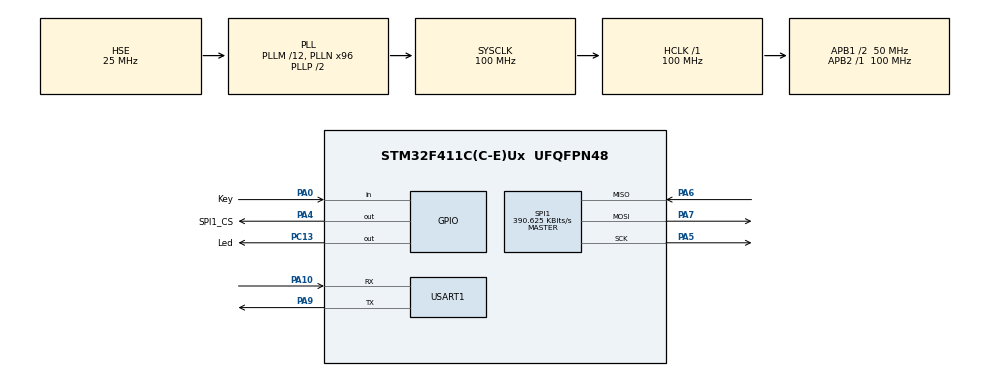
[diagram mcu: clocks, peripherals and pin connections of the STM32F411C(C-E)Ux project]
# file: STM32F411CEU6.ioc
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Dma.Request0=USART1_RX
Dma.USART1_RX.0.Direction=DMA_PERIPH_TO_MEMORY
Dma.USART1_RX.0.FIFOMode=DMA_FIFOMODE_DISABLE
Dma.USART1_RX.0.Instance=DMA2_Stream2
Dma.USART1_RX.0.MemDataAlignment=DMA_MDATAALIGN_BYTE
Dma.USART1_RX.0.MemInc=DMA_MINC_ENABLE
Dma.USART1_RX.0.Mode=DMA_NORMAL
Dma.USART1_RX.0.PeriphDataAlignment=DMA_PDATAALIGN_BYTE
Dma.USART1_RX.0.PeriphInc=DMA_PINC_DISABLE
Dma.USART1_RX.0.Priority=DMA_PRIORITY_LOW
FREERTOS.Tasks01=defaultTask,24,128,StartDefaultTask,Default,NULL,Dynamic,NULL,NULL
Mcu.Family=STM32F4
Mcu.Name=STM32F411C(C-E)Ux
Mcu.Package=UFQFPN48
NVIC.DMA2_Stream2_IRQn=true\:5\:0\:false\:false\:true\:true\:false\:true\:true
NVIC.PriorityGroup=NVIC_PRIORITYGROUP_4
NVIC.TIM1_UP_TIM10_IRQn=true\:15\:0\:false\:false\:true\:false\:false\:true\:true
NVIC.TimeBase=TIM1_UP_TIM10_IRQn
NVIC.TimeBaseIP=TIM1
NVIC.USART1_IRQn=true\:5\:0\:false\:false\:true\:true\:true\:true\:true
PA0-WKUP.GPIO_Label=Key
PA0-WKUP.GPIO_PuPd=GPIO_PULLUP
PA0-WKUP.Signal=GPIO_Input
PA10.Mode=Asynchronous
PA10.Signal=USART1_RX
PA13.Mode=Serial_Wire
PA13.Signal=SYS_JTMS-SWDIO
PA14.Mode=Serial_Wire
PA14.Signal=SYS_JTCK-SWCLK
PA4.GPIO_Label=SPI1_CS
PA4.PinState=GPIO_PIN_SET
PA4.Signal=GPIO_Output
PA5.Mode=Full_Duplex_Master
PA5.Signal=SPI1_SCK
PA6.Mode=Full_Duplex_Master
PA6.Signal=SPI1_MISO
PA7.Mode=Full_Duplex_Master
PA7.Signal=SPI1_MOSI
PA9.Mode=Asynchronous
PA9.Signal=USART1_TX
PC13-ANTI_TAMP.GPIO_Label=Led
PC13-ANTI_TAMP.Signal=GPIO_Output
PC14-OSC32_IN.Mode=LSE-External-Oscillator
PC14-OSC32_IN.Signal=RCC_OSC32_IN
PC15-OSC32_OUT.Mode=LSE-External-Oscillator
PC15-OSC32_OUT.Signal=RCC_OSC32_OUT
PH0\ -\ OSC_IN.Mode=HSE-External-Oscillator
PH0\ -\ OSC_IN.Signal=RCC_OSC_IN
PH1\ -\ OSC_OUT.Mode=HSE-External-Oscillator
PH1\ -\ OSC_OUT.Signal=RCC_OSC_OUT
ProjectManager.HeapSize=0x200
ProjectManager.StackSize=0x400
ProjectManager.TargetToolchain=MDK-ARM V5.32
RCC.48MHZClocksFreq_Value=50000000
RCC.AHBFreq_Value=100000000
RCC.APB1CLKDivider=RCC_HCLK_DIV2
RCC.APB1Freq_Value=50000000
RCC.APB1TimFreq_Value=100000000
RCC.APB2Freq_Value=100000000
RCC.APB2TimFreq_Value=100000000
RCC.CortexFreq_Value=100000000
RCC.HCLKFreq_Value=100000000
RCC.HSE_VALUE=25000000
RCC.HSI_VALUE=16000000
RCC.PLLM=12
RCC.PLLN=96
RCC.PLLSourceVirtual=RCC_PLLSOURCE_HSE
RCC.SYSCLKFreq_VALUE=100000000
RCC.SYSCLKSource=RCC_SYSCLKSOURCE_PLLCLK
RCC.VCOOutputFreq_Value=200000000
SPI1.BaudRatePrescaler=SPI_BAUDRATEPRESCALER_256
SPI1.CalculateBaudRate=390.625 KBits/s
SPI1.Direction=SPI_DIRECTION_2LINES
SPI1.Mode=SPI_MODE_MASTER
SPI1.VirtualType=VM_MASTER
USART1.VirtualMode=VM_ASYNC
VP_FREERTOS_VS_CMSIS_V2.Mode=CMSIS_V2
VP_SYS_VS_tim1.Mode=TIM1
board=custom

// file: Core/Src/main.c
/* USER CODE BEGIN Header */
/**
  ******************************************************************************
  * @file           : main.c
  * @brief          : Main program body
  ******************************************************************************
  * @attention
  *
  * Copyright (c) 2026 STMicroelectronics.
  * All rights reserved.
  *
  * This software is licensed under terms that can be found in the LICENSE file
  * in the root directory of this software component.
  * If no LICENSE file comes with this software, it is provided AS-IS.
  *
  ******************************************************************************
  */
/* USER CODE END Header */

#include "main.h"
#include "cmsis_os.h"
#include "dma.h"
#include "spi.h"
#include "usart.h"
#include "gpio.h"

/* USER CODE BEGIN Includes */
#include <stdint.h>  /* C 标准库 */
#include <stdio.h>

#include "at24cxx.h"  /* BSP 层：EEPROM、按键、LED 与 Flash */
#include "key.h"
#include "led.h"
#include "w25qxx_handler.h"

#include "SEGGER_RTT.h"  /* 中间件层：RTT 与日志封装 */
#include "debug.h"

#include "fw_update.h"  /* 业务层：固件更新接口与 APP 状态标志 */
/* USER CODE END Includes */

/* USER CODE BEGIN PD */
#define TAG  "main"  /* 日志标识 */
/* USER CODE END PD */

void SystemClock_Config(void);
void MX_FREERTOS_Init(void);

int main(void)
{

  /* USER CODE BEGIN 1 */
    __enable_irq();
    uint8_t app_state = 0xFFU;  /* EEPROM 保存的 APP 状态字节 */
  /* USER CODE END 1 */

  /* MCU Configuration--------------------------------------------------------*/

  /* Reset of all peripherals, Initializes the Flash interface and the Systick. */
  HAL_Init();

  /* Configure the system clock */
  SystemClock_Config();

  /* USER CODE BEGIN SysInit */
  debug_init();
  /* USER CODE END SysInit */

  /* Initialize all configured peripherals */
  MX_GPIO_Init();
  MX_DMA_Init();
  MX_USART1_UART_Init();
  MX_SPI1_Init();
  /* USER CODE BEGIN 2 */
  Key_Init();
  LED_Init();
  AT24Cxx_Init();
  W25QxxHandler_Init();

  AT24Cxx_ReadBytes(&app_state, 0x00U, 1U);
  elog_i(TAG, "APP state=0x%02X,log location:APP2\r\n",
          (unsigned int)app_state);

  if (APP_STATE_UPDATE_FAILED == app_state)
  {
      /* 确认首次启动，清除状态标志。 */
      app_state = APP_STATE_NORMAL_BOOT;
      AT24Cxx_WriteBytes(&app_state, 0x00U, 1U);

      /* 等待看门狗复位，再进行正常启动。 */
      while (1)
      {
      }
  }
  else if (APP_STATE_NORMAL_BOOT != app_state)
  {
      FWUpdate_SoftReset();
  }
  /* USER CODE END 2 */

  /* Init scheduler */
  osKernelInitialize();  /* Call init function for freertos objects (in cmsis_os2.c) */
  MX_FREERTOS_Init();

  /* Start scheduler */
  osKernelStart();

  /* We should never get here as control is now taken by the scheduler */

  /* Infinite loop */
  while (1)
  {

    /* USER CODE BEGIN 3 */

    elog_i(TAG,"elog TEST!\r\n");
#if 0
      printf("\r\nTEST 1142!\r\n");
      SEGGER_RTT_printf(0,"Hello,SEGGER RTT!\r\n");
#endif

      HAL_Delay(1000);
  }
  /* USER CODE END 3 */
}

void SystemClock_Config(void)
{
  RCC_OscInitTypeDef RCC_OscInitStruct = {0};
  RCC_ClkInitTypeDef RCC_ClkInitStruct = {0};

  /** Configure the main internal regulator output voltage
  */
  __HAL_RCC_PWR_CLK_ENABLE();
  __HAL_PWR_VOLTAGESCALING_CONFIG(PWR_REGULATOR_VOLTAGE_SCALE1);

  /** Initializes the RCC Oscillators according to the specified parameters
  * in the RCC_OscInitTypeDef structure.
  */
  RCC_OscInitStruct.OscillatorType = RCC_OSCILLATORTYPE_HSE;
  RCC_OscInitStruct.HSEState = RCC_HSE_ON;
  RCC_OscInitStruct.PLL.PLLState = RCC_PLL_ON;
  RCC_OscInitStruct.PLL.PLLSource = RCC_PLLSOURCE_HSE;
  RCC_OscInitStruct.PLL.PLLM = 12;
  RCC_OscInitStruct.PLL.PLLN = 96;
  RCC_OscInitStruct.PLL.PLLP = RCC_PLLP_DIV2;
  RCC_OscInitStruct.PLL.PLLQ = 4;
  if (HAL_RCC_OscConfig(&RCC_OscInitStruct) != HAL_OK)
  {
    Error_Handler();
  }

  /** Initializes the CPU, AHB and APB buses clocks
  */
  RCC_ClkInitStruct.ClockType = RCC_CLOCKTYPE_HCLK|RCC_CLOCKTYPE_SYSCLK
                              |RCC_CLOCKTYPE_PCLK1|RCC_CLOCKTYPE_PCLK2;
  RCC_ClkInitStruct.SYSCLKSource = RCC_SYSCLKSOURCE_PLLCLK;
  RCC_ClkInitStruct.AHBCLKDivider = RCC_SYSCLK_DIV1;
  RCC_ClkInitStruct.APB1CLKDivider = RCC_HCLK_DIV2;
  RCC_ClkInitStruct.APB2CLKDivider = RCC_HCLK_DIV1;

  if (HAL_RCC_ClockConfig(&RCC_ClkInitStruct, FLASH_LATENCY_3) != HAL_OK)
  {
    Error_Handler();
  }
}

void HAL_TIM_PeriodElapsedCallback(TIM_HandleTypeDef *htim)
{
  if (htim->Instance == TIM1)
  {
    HAL_IncTick();
  }
}

void Error_Handler(void)
{
  __disable_irq();
  while (1)
  {
  }
}

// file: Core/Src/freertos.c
/* USER CODE BEGIN Header */
/**
  ******************************************************************************
  * File Name          : freertos.c
  * Description        : Code for freertos applications
  ******************************************************************************
  * @attention
  *
  * Copyright (c) 2026 STMicroelectronics.
  * All rights reserved.
  *
  * This software is licensed under terms that can be found in the LICENSE file
  * in the root directory of this software component.
  * If no LICENSE file comes with this software, it is provided AS-IS.
  *
  ******************************************************************************
  */
/* USER CODE END Header */

#include "FreeRTOS.h"
#include "task.h"
#include "main.h"
#include "cmsis_os.h"

/* USER CODE BEGIN Includes */
#include "os_init.h"
#include "led.h"
/* USER CODE END Includes */

/* USER CODE BEGIN PTD */
#define TAG     "freertos"
/* USER CODE END PTD */

/* Definitions for defaultTask */
osThreadId_t defaultTaskHandle;
const osThreadAttr_t defaultTask_attributes = {
  .name = "defaultTask",
  .stack_size = 128 * 4,
  .priority = (osPriority_t) osPriorityNormal,
};

void StartDefaultTask(void *argument);

void MX_FREERTOS_Init(void); /* (MISRA C 2004 rule 8.1) */

void MX_FREERTOS_Init(void) {

  /* Create the thread(s) */
  /* creation of defaultTask */
  // defaultTaskHandle = osThreadNew(StartDefaultTask, NULL, &defaultTask_attributes);

  /* USER CODE BEGIN RTOS_THREADS */
  /* add threads, ... */
  OS_Init();
  /* USER CODE END RTOS_THREADS */

}

void StartDefaultTask(void *argument)
{
  /* USER CODE BEGIN StartDefaultTask */
  /* Infinite loop */
  for(;;)
  {
#if 0
      LED_Toggle();
      elog_i(TAG,"elog TEST 1143!\r\n");
#endif
    osDelay(1000);
  }
  /* USER CODE END StartDefaultTask */
}
